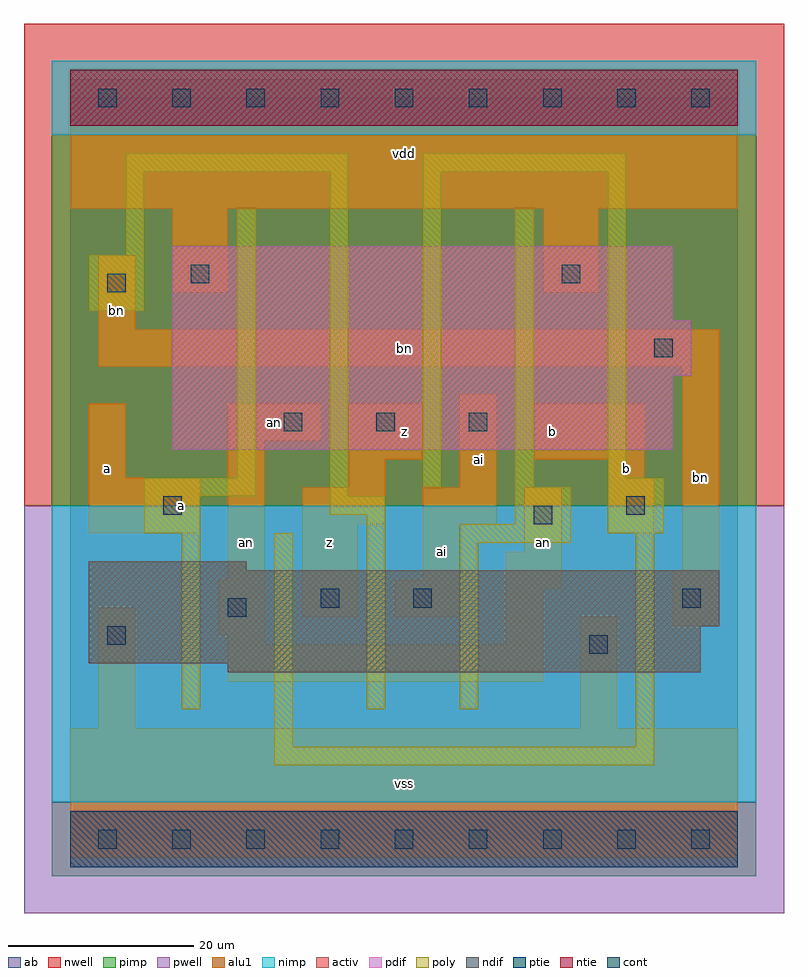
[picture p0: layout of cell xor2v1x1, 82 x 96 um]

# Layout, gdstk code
import gdstk
lib = gdstk.Library(unit=1e-6, precision=1e-09)
def R(c, l, rs):  # rectangles x0, y0, x1, y1
    for r in rs: c.add(gdstk.rectangle(r[:2], r[2:], *l))
def A(c, l, x, y, w, h, nx, ny, dx, dy):  # array of equal rectangles
    R(c, l, [(x+i*dx, y+j*dy, x+i*dx+w, y+j*dy+h) for i in range(nx) for j in range(ny)])
ndif = (3, 0)
pdif = (4, 0)
ntie = (5, 0)
ptie = (6, 0)
cont = (25, 0)
pwell = (41, 0)
nwell = (42, 0)
activ = (43, 0)
pimp = (44, 0)
nimp = (45, 0)
poly = (46, 0)
alu1 = (49, 0)
ab = (63, 0)

xor2v1x1 = lib.new_cell('xor2v1x1')
R(xor2v1x1, ndif, [(17,18,68,19), (2,19,68,23), (2,23,70,29), (2,29,19,30)])
R(xor2v1x1, pdif, [(11,42,65,50), (11,50,67,56), (11,56,65,64)])
R(xor2v1x1, ntie, [(0,77,72,83)])
R(xor2v1x1, ptie, [(0,-3,72,3)])
A(xor2v1x1, cont, 3, -1, 2, 2, 9, 2, 8, 80)
A(xor2v1x1, cont, 23, 44, 2, 2, 3, 1, 10, 0)
R(xor2v1x1, cont, [(56,20,58,22), (4,21,6,23), (17,24,19,26), (27,25,29,27), (37,25,39,27), (66,25,68,27), (50,34,52,36), (10,35,12,37), (60,35,62,37), (63,52,65,54), (4,59,6,61), (13,60,15,62), (53,60,55,62)])
R(xor2v1x1, pwell, [(-5,-8,77,36)])
R(xor2v1x1, nwell, [(-5,36,77,88)])
R(xor2v1x1, activ, [(0,-3,72,3), (17,18,68,19), (2,19,68,23), (2,23,70,29), (2,29,19,30), (11,42,65,50), (11,50,67,56), (11,56,65,64), (0,77,72,83)])
R(xor2v1x1, pimp, [(-2,-4,74,4), (-2,36,74,76)])
R(xor2v1x1, nimp, [(-2,4,74,36), (-2,76,74,84)])
R(xor2v1x1, poly, [(22,8,63,10), (22,10,24,33), (61,10,63,33), (12,14,14,33), (32,14,34,35), (42,14,44,32), (42,32,54,34), (8,33,14,37), (58,33,64,39), (48,34,54,38), (28,35,34,37), (8,37,20,39), (28,37,30,72), (38,38,40,72), (48,38,50,68), (18,39,20,68), (58,39,60,72), (2,57,8,63), (6,63,8,72), (6,72,30,74), (38,72,60,74)])
R(xor2v1x1, alu1, [(0,-2,72,12), (3,12,7,25), (55,12,59,24), (17,17,51,21), (17,21,21,22), (47,21,51,27), (16,22,21,28), (65,23,70,29), (25,24,31,34), (35,24,42,28), (47,27,53,31), (17,28,21,43), (38,28,42,34), (66,29,70,51), (49,31,53,38), (2,33,14,39), (58,33,63,39), (25,34,34,38), (38,34,46,38), (30,38,34,41), (42,38,46,48), (2,39,6,47), (58,39,62,41), (30,41,38,47), (50,41,62,47), (17,43,27,47), (3,51,70,55), (3,55,7,63), (11,59,17,68), (51,59,57,68), (0,68,72,82)])
R(xor2v1x1, ab, [(0,0,72,80)])
xor2v1x1.add(gdstk.Label('bn', (5,57), layer=49, texttype=0))
xor2v1x1.add(gdstk.Label('an', (19,32), layer=49, texttype=0))
xor2v1x1.add(gdstk.Label('an', (22,45), layer=49, texttype=0))
xor2v1x1.add(gdstk.Label('ai', (40,31), layer=49, texttype=0))
xor2v1x1.add(gdstk.Label('an', (51,32), layer=49, texttype=0))
xor2v1x1.add(gdstk.Label('ai', (44,41), layer=49, texttype=0))
xor2v1x1.add(gdstk.Label('bn', (68,39), layer=49, texttype=0))
xor2v1x1.add(gdstk.Label('bn', (36,53), layer=49, texttype=0))
xor2v1x1.add(gdstk.Label('a', (12,36), layer=49, texttype=0))
xor2v1x1.add(gdstk.Label('a', (4,40), layer=49, texttype=0))
xor2v1x1.add(gdstk.Label('z', (28,32), layer=49, texttype=0))
xor2v1x1.add(gdstk.Label('vss', (36,6), layer=49, texttype=0))
xor2v1x1.add(gdstk.Label('b', (52,44), layer=49, texttype=0))
xor2v1x1.add(gdstk.Label('z', (36,44), layer=49, texttype=0))
xor2v1x1.add(gdstk.Label('vdd', (36,74), layer=49, texttype=0))
xor2v1x1.add(gdstk.Label('b', (60,40), layer=49, texttype=0))

lib.write_gds('xor2v1x1.gds')
